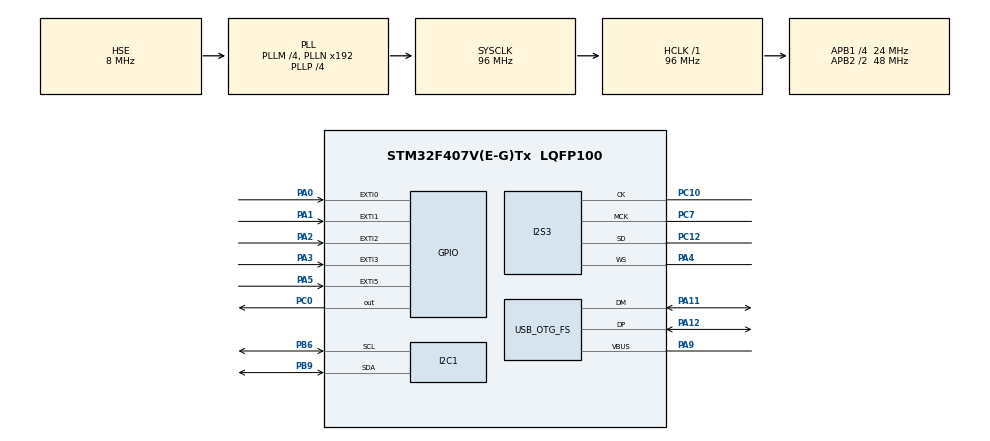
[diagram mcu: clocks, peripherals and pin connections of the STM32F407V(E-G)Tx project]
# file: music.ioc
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Dma.Request0=SPI3_TX
Dma.SPI3_TX.0.Direction=DMA_MEMORY_TO_PERIPH
Dma.SPI3_TX.0.FIFOMode=DMA_FIFOMODE_ENABLE
Dma.SPI3_TX.0.FIFOThreshold=DMA_FIFO_THRESHOLD_FULL
Dma.SPI3_TX.0.Instance=DMA1_Stream5
Dma.SPI3_TX.0.MemBurst=DMA_MBURST_SINGLE
Dma.SPI3_TX.0.MemDataAlignment=DMA_MDATAALIGN_HALFWORD
Dma.SPI3_TX.0.MemInc=DMA_MINC_ENABLE
Dma.SPI3_TX.0.Mode=DMA_CIRCULAR
Dma.SPI3_TX.0.PeriphBurst=DMA_PBURST_SINGLE
Dma.SPI3_TX.0.PeriphDataAlignment=DMA_PDATAALIGN_HALFWORD
Dma.SPI3_TX.0.PeriphInc=DMA_PINC_DISABLE
Dma.SPI3_TX.0.Priority=DMA_PRIORITY_LOW
FATFS._USE_LFN=1
I2S3.AudioFreq=I2S_AUDIOFREQ_44K
I2S3.ErrorAudioFreq=0.26 %
I2S3.FullDuplexMode=I2S_FULLDUPLEXMODE_DISABLE
I2S3.Instance=SPI$Index
I2S3.RealAudioFreq=44.117 KHz
I2S3.VirtualMode=I2S_MODE_MASTER
Mcu.Family=STM32F4
Mcu.Name=STM32F407V(E-G)Tx
Mcu.Package=LQFP100
NVIC.DMA1_Stream5_IRQn=true\:0\:0\:false\:false\:true\:false\:true\:true
NVIC.EXTI0_IRQn=true\:0\:0\:false\:false\:true\:true\:true\:true
NVIC.EXTI1_IRQn=true\:0\:0\:false\:false\:true\:true\:true\:true
NVIC.EXTI2_IRQn=true\:0\:0\:false\:false\:true\:true\:true\:true
NVIC.EXTI3_IRQn=true\:0\:0\:false\:false\:true\:true\:true\:true
NVIC.EXTI9_5_IRQn=true\:0\:0\:false\:false\:true\:true\:true\:true
NVIC.OTG_FS_IRQn=true\:0\:0\:false\:false\:true\:true\:true\:true
NVIC.PriorityGroup=NVIC_PRIORITYGROUP_0
NVIC.TIM1_UP_TIM10_IRQn=true\:0\:0\:false\:false\:true\:false\:true\:true
NVIC.TimeBase=TIM1_UP_TIM10_IRQn
NVIC.TimeBaseIP=TIM1
PA0-WKUP.GPIO_PuPd=GPIO_PULLDOWN
PA0-WKUP.Signal=GPXTI0
PA1.GPIO_PuPd=GPIO_PULLDOWN
PA1.Signal=GPXTI1
PA11.Mode=Host_Only
PA11.Signal=USB_OTG_FS_DM
PA12.Mode=Host_Only
PA12.Signal=USB_OTG_FS_DP
PA2.GPIO_PuPd=GPIO_PULLDOWN
PA2.Signal=GPXTI2
PA3.GPIO_PuPd=GPIO_PULLDOWN
PA3.Signal=GPXTI3
PA4.Mode=Half_Duplex_Master
PA4.Signal=I2S3_WS
PA5.GPIO_PuPd=GPIO_PULLDOWN
PA5.Signal=GPXTI5
PA9.Mode=Activate_VBUS
PA9.Signal=USB_OTG_FS_VBUS
PB6.Mode=I2C
PB6.Signal=I2C1_SCL
PB9.Mode=I2C
PB9.Signal=I2C1_SDA
PC0.Signal=GPIO_Output
PC10.Mode=Half_Duplex_Master
PC10.Signal=I2S3_CK
PC12.Mode=Half_Duplex_Master
PC12.Signal=I2S3_SD
PC7.Mode=Master_Clock_Activated
PC7.Signal=I2S3_MCK
PH0-OSC_IN.Mode=HSE-External-Oscillator
PH0-OSC_IN.Signal=RCC_OSC_IN
PH1-OSC_OUT.Mode=HSE-External-Oscillator
PH1-OSC_OUT.Signal=RCC_OSC_OUT
ProjectManager.HeapSize=0x200
ProjectManager.StackSize=0x400
ProjectManager.TargetToolchain=STM32CubeIDE
RCC.48MHZClocksFreq_Value=48000000
RCC.AHBFreq_Value=96000000
RCC.APB1CLKDivider=RCC_HCLK_DIV4
RCC.APB1Freq_Value=24000000
RCC.APB1TimFreq_Value=48000000
RCC.APB2CLKDivider=RCC_HCLK_DIV2
RCC.APB2Freq_Value=48000000
RCC.APB2TimFreq_Value=96000000
RCC.CortexFreq_Value=96000000
RCC.HCLKFreq_Value=96000000
RCC.HSE_VALUE=8000000
RCC.HSI_VALUE=16000000
RCC.LSE_VALUE=32768
RCC.PLLM=4
RCC.PLLP=RCC_PLLP_DIV4
RCC.PLLQ=8
RCC.SYSCLKFreq_VALUE=96000000
RCC.SYSCLKSource=RCC_SYSCLKSOURCE_PLLCLK
RCC.VCOOutputFreq_Value=384000000
USB_HOST.BSP.number=1
USB_HOST.USBH_HandleTypeDef-MSC_FS=hUsbHostFS
USB_HOST.VirtualModeFS=Msc
USB_HOST0.BSP.STBoard=false
USB_HOST0.BSP.api=Unknown
USB_HOST0.BSP.instance=PC0
USB_HOST0.BSP.ip=GPIO
USB_HOST0.BSP.mode=Output
USB_HOST0.BSP.name=Drive_VBUS_FS
USB_HOST0.BSP.solution=PC0
USB_OTG_FS.VirtualMode=Host_Only
USB_OTG_FS.phy_itface=HCD_PHY_EMBEDDED
VP_FATFS_VS_USB.Mode=USB
VP_SYS_VS_tim1.Mode=TIM1
VP_USB_HOST_VS_USB_HOST_MSC_FS.Mode=MSC_FS
board=STM32F407G-DISC1

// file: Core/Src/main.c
/* USER CODE BEGIN Header */
/**
  ******************************************************************************
  * @file           : main.c
  * @brief          : Main program body
  ******************************************************************************
  * @attention
  *
  * <h2><center>&copy; Copyright (c) 2021 STMicroelectronics.
  * All rights reserved.</center></h2>
  *
  * This software component is licensed by ST under Ultimate Liberty license
  * SLA0044, the "License"; You may not use this file except in compliance with
  * the License. You may obtain a copy of the License at:
  *                             www.st.com/SLA0044
  *
  ******************************************************************************
  */
/* USER CODE END Header */
#include "main.h"
#include "fatfs.h"
#include "usb_host.h"

/* USER CODE BEGIN Includes */

#include "waveplayer.h"
#include "File_Handling.h"
/* USER CODE END Includes */

I2C_HandleTypeDef hi2c1;

I2S_HandleTypeDef hi2s3;
DMA_HandleTypeDef hdma_spi3_tx;

void SystemClock_Config(void);
static void MX_GPIO_Init(void);
static void MX_I2C1_Init(void);
static void MX_DMA_Init(void);
static void MX_I2S3_Init(void);
void MX_USB_HOST_Process(void);

/* USER CODE BEGIN 0 */
extern ApplicationTypeDef Appli_state;
extern AUDIO_PLAYBACK_StateTypeDef AudioState;

int IsFinished = 0;

void HAL_GPIO_EXTI_Callback(uint16_t GPIO_Pin)

{

	if (GPIO_Pin == GPIO_PIN_0)
	{

		if (AudioState == AUDIO_STATE_PLAY)
		{
			AudioState = AUDIO_STATE_PAUSE;
		}

		if (AudioState == AUDIO_STATE_WAIT)
		{
			AudioState = AUDIO_STATE_RESUME;
		}
	}

	if (GPIO_Pin == GPIO_PIN_1)
	{

		AudioState = AUDIO_STATE_VOLUME_UP;
	}
	if (GPIO_Pin == GPIO_PIN_2)
		{

			AudioState = AUDIO_STATE_VOLUME_DOWN;
		}
	if (GPIO_Pin == GPIO_PIN_3)
		{

			AudioState = AUDIO_STATE_NEXT;
		}
	if (GPIO_Pin == GPIO_PIN_5)
		{

			AudioState = AUDIO_STATE_PREVIOUS;
		}
}
/* USER CODE END 0 */

int main(void)
{

  /* MCU Configuration--------------------------------------------------------*/

  /* Reset of all peripherals, Initializes the Flash interface and the Systick. */
  HAL_Init();

  /* Configure the system clock */
  SystemClock_Config();

  /* Initialize all configured peripherals */
  MX_GPIO_Init();
  MX_I2C1_Init();
  MX_DMA_Init();
  MX_I2S3_Init();
  MX_FATFS_Init();
  MX_USB_HOST_Init();

  /* Infinite loop */
  while (1)
  {
    MX_USB_HOST_Process();

    /* USER CODE BEGIN 3 */
    if (Appli_state == APPLICATION_READY)
        {
        	Mount_USB();
        	AUDIO_PLAYER_Start(0);

        	while (!IsFinished)
        	{
        		AUDIO_PLAYER_Process(TRUE);

        		if (AudioState == AUDIO_STATE_STOP)
        		{
        			IsFinished = 1;
        		}
        	}
        }
  }
  /* USER CODE END 3 */
}

void SystemClock_Config(void)
{
  RCC_OscInitTypeDef RCC_OscInitStruct = {0};
  RCC_ClkInitTypeDef RCC_ClkInitStruct = {0};

  /** Configure the main internal regulator output voltage
  */
  __HAL_RCC_PWR_CLK_ENABLE();
  __HAL_PWR_VOLTAGESCALING_CONFIG(PWR_REGULATOR_VOLTAGE_SCALE1);
  /** Initializes the RCC Oscillators according to the specified parameters
  * in the RCC_OscInitTypeDef structure.
  */
  RCC_OscInitStruct.OscillatorType = RCC_OSCILLATORTYPE_HSE;
  RCC_OscInitStruct.HSEState = RCC_HSE_ON;
  RCC_OscInitStruct.PLL.PLLState = RCC_PLL_ON;
  RCC_OscInitStruct.PLL.PLLSource = RCC_PLLSOURCE_HSE;
  RCC_OscInitStruct.PLL.PLLM = 4;
  RCC_OscInitStruct.PLL.PLLN = 192;
  RCC_OscInitStruct.PLL.PLLP = RCC_PLLP_DIV4;
  RCC_OscInitStruct.PLL.PLLQ = 8;
  if (HAL_RCC_OscConfig(&RCC_OscInitStruct) != HAL_OK)
  {
    Error_Handler();
  }
  /** Initializes the CPU, AHB and APB buses clocks
  */
  RCC_ClkInitStruct.ClockType = RCC_CLOCKTYPE_HCLK|RCC_CLOCKTYPE_SYSCLK
                              |RCC_CLOCKTYPE_PCLK1|RCC_CLOCKTYPE_PCLK2;
  RCC_ClkInitStruct.SYSCLKSource = RCC_SYSCLKSOURCE_PLLCLK;
  RCC_ClkInitStruct.AHBCLKDivider = RCC_SYSCLK_DIV1;
  RCC_ClkInitStruct.APB1CLKDivider = RCC_HCLK_DIV4;
  RCC_ClkInitStruct.APB2CLKDivider = RCC_HCLK_DIV2;

  if (HAL_RCC_ClockConfig(&RCC_ClkInitStruct, FLASH_LATENCY_3) != HAL_OK)
  {
    Error_Handler();
  }
}

static void MX_I2C1_Init(void)
{

  hi2c1.Instance = I2C1;
  hi2c1.Init.ClockSpeed = 100000;
  hi2c1.Init.DutyCycle = I2C_DUTYCYCLE_2;
  hi2c1.Init.OwnAddress1 = 0;
  hi2c1.Init.AddressingMode = I2C_ADDRESSINGMODE_7BIT;
  hi2c1.Init.DualAddressMode = I2C_DUALADDRESS_DISABLE;
  hi2c1.Init.OwnAddress2 = 0;
  hi2c1.Init.GeneralCallMode = I2C_GENERALCALL_DISABLE;
  hi2c1.Init.NoStretchMode = I2C_NOSTRETCH_DISABLE;
  if (HAL_I2C_Init(&hi2c1) != HAL_OK)
  {
    Error_Handler();
  }

}

static void MX_I2S3_Init(void)
{

  hi2s3.Instance = SPI3;
  hi2s3.Init.Mode = I2S_MODE_MASTER_TX;
  hi2s3.Init.Standard = I2S_STANDARD_PHILIPS;
  hi2s3.Init.DataFormat = I2S_DATAFORMAT_16B;
  hi2s3.Init.MCLKOutput = I2S_MCLKOUTPUT_ENABLE;
  hi2s3.Init.AudioFreq = I2S_AUDIOFREQ_44K;
  hi2s3.Init.CPOL = I2S_CPOL_LOW;
  hi2s3.Init.ClockSource = I2S_CLOCK_PLL;
  hi2s3.Init.FullDuplexMode = I2S_FULLDUPLEXMODE_DISABLE;
  if (HAL_I2S_Init(&hi2s3) != HAL_OK)
  {
    Error_Handler();
  }

}

static void MX_DMA_Init(void)
{

  /* DMA controller clock enable */
  __HAL_RCC_DMA1_CLK_ENABLE();

  /* DMA interrupt init */
  /* DMA1_Stream5_IRQn interrupt configuration */
  HAL_NVIC_SetPriority(DMA1_Stream5_IRQn, 0, 0);
  HAL_NVIC_EnableIRQ(DMA1_Stream5_IRQn);

}

static void MX_GPIO_Init(void)
{
  GPIO_InitTypeDef GPIO_InitStruct = {0};

  /* GPIO Ports Clock Enable */
  __HAL_RCC_GPIOH_CLK_ENABLE();
  __HAL_RCC_GPIOC_CLK_ENABLE();
  __HAL_RCC_GPIOA_CLK_ENABLE();
  __HAL_RCC_GPIOB_CLK_ENABLE();

  /*Configure GPIO pin Output Level */
  HAL_GPIO_WritePin(GPIOC, GPIO_PIN_0, GPIO_PIN_RESET);

  /*Configure GPIO pin : PC0 */
  GPIO_InitStruct.Pin = GPIO_PIN_0;
  GPIO_InitStruct.Mode = GPIO_MODE_OUTPUT_PP;
  GPIO_InitStruct.Pull = GPIO_NOPULL;
  GPIO_InitStruct.Speed = GPIO_SPEED_FREQ_LOW;
  HAL_GPIO_Init(GPIOC, &GPIO_InitStruct);

  /*Configure GPIO pins : PA0 PA1 PA2 PA3
                           PA5 */
  GPIO_InitStruct.Pin = GPIO_PIN_0|GPIO_PIN_1|GPIO_PIN_2|GPIO_PIN_3
                          |GPIO_PIN_5;
  GPIO_InitStruct.Mode = GPIO_MODE_IT_RISING;
  GPIO_InitStruct.Pull = GPIO_PULLDOWN;
  HAL_GPIO_Init(GPIOA, &GPIO_InitStruct);

  /* EXTI interrupt init*/
  HAL_NVIC_SetPriority(EXTI0_IRQn, 0, 0);
  HAL_NVIC_EnableIRQ(EXTI0_IRQn);

  HAL_NVIC_SetPriority(EXTI1_IRQn, 0, 0);
  HAL_NVIC_EnableIRQ(EXTI1_IRQn);

  HAL_NVIC_SetPriority(EXTI2_IRQn, 0, 0);
  HAL_NVIC_EnableIRQ(EXTI2_IRQn);

  HAL_NVIC_SetPriority(EXTI3_IRQn, 0, 0);
  HAL_NVIC_EnableIRQ(EXTI3_IRQn);

  HAL_NVIC_SetPriority(EXTI9_5_IRQn, 0, 0);
  HAL_NVIC_EnableIRQ(EXTI9_5_IRQn);

}

void HAL_TIM_PeriodElapsedCallback(TIM_HandleTypeDef *htim)
{
  if (htim->Instance == TIM1) {
    HAL_IncTick();
  }
}

void Error_Handler(void)
{
  __disable_irq();
  while (1)
  {
  }
}

/************************ (C) COPYRIGHT STMicroelectronics *****END OF FILE****/
